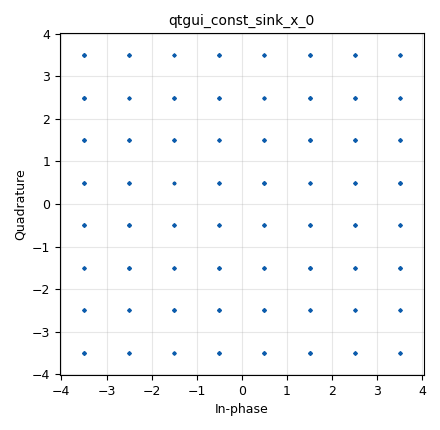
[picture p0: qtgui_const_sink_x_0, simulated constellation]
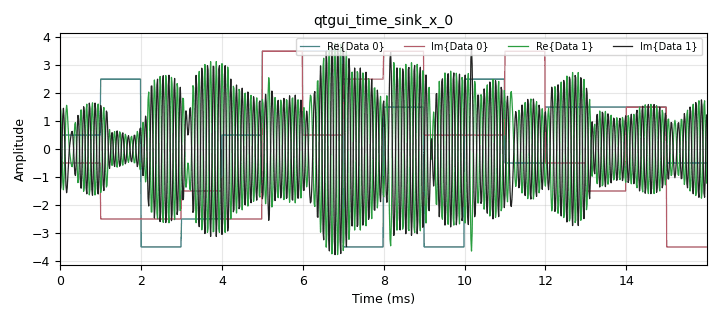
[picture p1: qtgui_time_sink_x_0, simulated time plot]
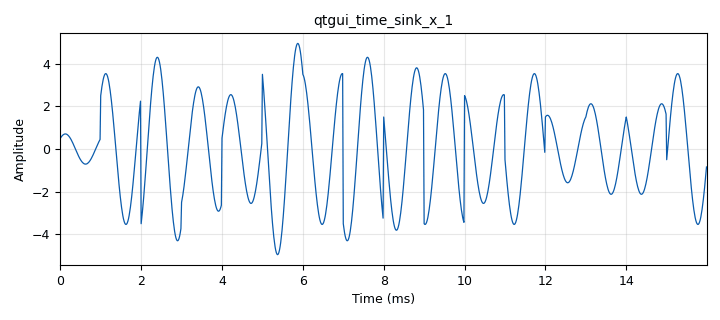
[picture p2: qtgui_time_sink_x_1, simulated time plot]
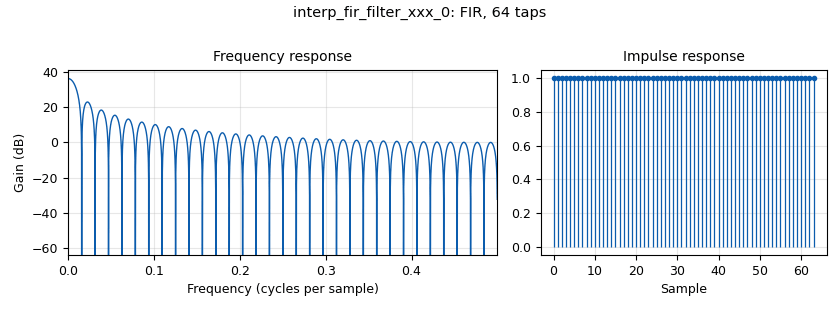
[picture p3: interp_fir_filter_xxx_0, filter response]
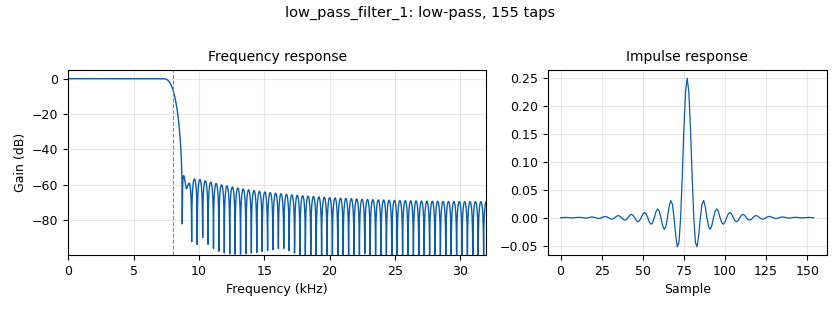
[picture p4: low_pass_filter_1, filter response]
options:
  parameters:
    author: p
    generate_options: qt_gui
    id: week2_lecture11
    output_language: python
    title: Not titled yet
  states: {}

blocks:
- name: N
  id: variable
  parameters:
    value: '64'
  states: {}
- name: delay
  id: variable_qtgui_range
  parameters:
    rangeType: int
    start: '0'
    step: '1'
    stop: '100'
    value: '0'
  states: {}
- name: fc
  id: variable
  parameters:
    value: '8000'
  states: {}
- name: samp_rate
  id: variable
  parameters:
    value: '64000'
  states: {}
- name: analog_random_source_x_0
  id: analog_random_source_x
  parameters:
    max: N
    min: '0'
    num_samps: '1024'
    repeat: 'True'
    type: int
  states: {}
- name: analog_sig_source_x_0
  id: analog_sig_source_x
  parameters:
    amp: '1'
    freq: '1000'
    offset: '0'
    phase: '0'
    samp_rate: samp_rate
    type: complex
    waveform: analog.GR_COS_WAVE
  states: {}
- name: analog_sig_source_x_1
  id: analog_sig_source_x
  parameters:
    amp: '1.414'
    freq: fc
    offset: '0'
    phase: '0'
    samp_rate: samp_rate
    type: float
    waveform: analog.GR_COS_WAVE
  states: {}
- name: analog_sig_source_x_1_0
  id: analog_sig_source_x
  parameters:
    amp: '-1.414'
    freq: fc
    offset: '0'
    phase: '0'
    samp_rate: samp_rate
    type: float
    waveform: analog.GR_COS_WAVE
  states: {}
- name: blocks_complex_to_real_0
  id: blocks_complex_to_real
  parameters: {}
  states: {}
- name: blocks_delay_0
  id: blocks_delay
  parameters:
    delay: delay
    type: complex
  states: {}
- name: blocks_float_to_complex_0
  id: blocks_float_to_complex
  parameters: {}
  states: {}
- name: blocks_multiply_xx_0
  id: blocks_multiply_xx
  parameters:
    type: complex
  states: {}
- name: blocks_multiply_xx_1
  id: blocks_multiply_xx
  parameters:
    type: float
  states: {}
- name: blocks_multiply_xx_2
  id: blocks_multiply_xx
  parameters:
    type: float
  states: {}
- name: blocks_throttle2_0
  id: blocks_throttle2
  parameters:
    samples_per_second: samp_rate
    type: complex
  states: {}
- name: digital_chunks_to_symbols_xx_0
  id: digital_chunks_to_symbols_xx
  parameters:
    dimension: '1'
    in_type: int
    out_type: complex
    symbol_table: '[a+1j * b for a in (numpy.arange(8)-3.5)  for b in (numpy.arange(8)-3.5)]'
  states: {}
- name: import_0
  id: import
  parameters:
    imports: import numpy
  states: {}
- name: interp_fir_filter_xxx_0
  id: interp_fir_filter_xxx
  parameters:
    interp: samp_rate//1000
    taps: numpy.ones(samp_rate//1000)
    type: ccc
  states: {}
- name: low_pass_filter_1
  id: low_pass_filter
  parameters:
    cutoff_freq: fc
    gain: '1'
    interp: '1'
    samp_rate: samp_rate
    type: interp_fir_filter_fff
    width: '1000'
    win: window.WIN_HAMMING
  states: {}
- name: low_pass_filter_1_0
  id: low_pass_filter
  parameters:
    cutoff_freq: fc
    gain: '1'
    interp: '1'
    samp_rate: samp_rate
    type: interp_fir_filter_fff
    width: '1000'
    win: window.WIN_HAMMING
  states: {}
- name: qtgui_const_sink_x_0
  id: qtgui_const_sink_x
  parameters:
    autoscale: 'True'
    size: '1024'
    type: complex
  states: {}
- name: qtgui_time_sink_x_0
  id: qtgui_time_sink_x
  parameters:
    autoscale: 'True'
    grid: 'True'
    nconnections: '2'
    size: '1024'
    srate: samp_rate
    type: complex
  states: {}
- name: qtgui_time_sink_x_1
  id: qtgui_time_sink_x
  parameters:
    autoscale: 'True'
    grid: 'True'
    size: '1024'
    srate: samp_rate
    type: float
  states: {}
- name: virtual_sink_0
  id: virtual_sink
  parameters:
    stream_id: psk_baseband
  states: {}
- name: virtual_source_0
  id: virtual_source
  parameters:
    stream_id: psk_baseband
  states: {}

connections:
- [analog_random_source_x_0, '0', digital_chunks_to_symbols_xx_0, '0']
- [analog_sig_source_x_0, '0', blocks_multiply_xx_0, '1']
- [analog_sig_source_x_1, '0', blocks_multiply_xx_2, '1']
- [analog_sig_source_x_1_0, '0', blocks_multiply_xx_1, '1']
- [blocks_complex_to_real_0, '0', blocks_multiply_xx_1, '0']
- [blocks_complex_to_real_0, '0', blocks_multiply_xx_2, '0']
- [blocks_complex_to_real_0, '0', qtgui_time_sink_x_1, '0']
- [blocks_delay_0, '0', qtgui_time_sink_x_0, '0']
- [blocks_float_to_complex_0, '0', qtgui_time_sink_x_0, '1']
- [blocks_multiply_xx_0, '0', blocks_complex_to_real_0, '0']
- [blocks_multiply_xx_1, '0', low_pass_filter_1_0, '0']
- [blocks_multiply_xx_2, '0', low_pass_filter_1, '0']
- [blocks_throttle2_0, '0', interp_fir_filter_xxx_0, '0']
- [blocks_throttle2_0, '0', qtgui_const_sink_x_0, '0']
- [digital_chunks_to_symbols_xx_0, '0', blocks_throttle2_0, '0']
- [interp_fir_filter_xxx_0, '0', blocks_delay_0, '0']
- [interp_fir_filter_xxx_0, '0', virtual_sink_0, '0']
- [low_pass_filter_1, '0', blocks_float_to_complex_0, '0']
- [low_pass_filter_1_0, '0', blocks_float_to_complex_0, '1']
- [virtual_source_0, '0', blocks_multiply_xx_0, '0']

metadata:
  file_format: 1
  grc_version: 3.10.7.0
